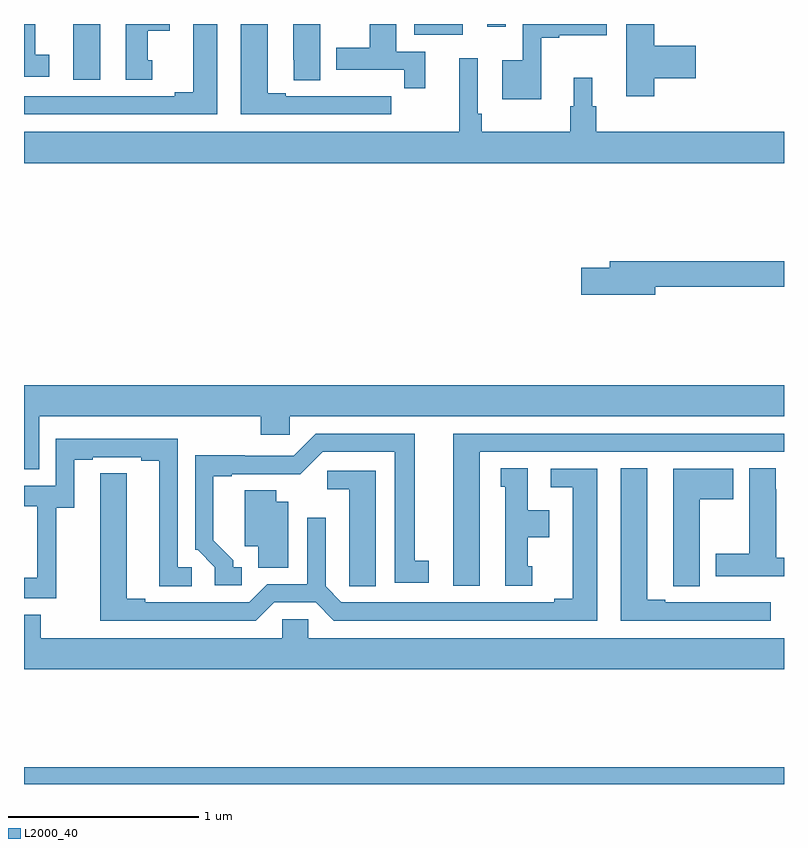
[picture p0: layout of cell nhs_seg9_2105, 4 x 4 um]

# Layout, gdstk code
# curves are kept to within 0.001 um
import gdstk
lib = gdstk.Library(unit=1e-6, precision=1e-09)
def R(c, l, rs):  # rectangles x0, y0, x1, y1
    for r in rs: c.add(gdstk.rectangle(r[:2], r[2:], *l))
def P(c, l, *ps):  # polygons
    for p in ps: c.add(gdstk.Polygon(p, *l))
L2000_40 = (2000, 40)

nhs_seg9_2105 = lib.new_cell('nhs_seg9_2105')
R(nhs_seg9_2105, L2000_40, [(231,1178.5,235,1178.588), (231.26,1182.207,231.4,1182.5), (233.054,1182.443,233.308,1182.5), (233.438,1182.486,233.535,1182.5)])
P(nhs_seg9_2105, L2000_40, [(232.933,1182.12),(232.82,1182.12),(232.82,1182.121),(232.654,1182.121),(232.654,1182.12),(232.378,1182.12),(232.378,1182.135),(232.282,1182.135),(232.282,1182.5),(232.142,1182.5),(232.142,1182.024),(232.933,1182.024)],
  [(233.111,1182.354),(232.96,1182.354),(232.96,1182.5),(232.82,1182.5),(232.82,1182.375),(232.643,1182.375),(232.643,1182.258),(233.002,1182.258),(233.002,1182.162),(233.111,1182.162)],
  [(233.722,1182.428),(233.818,1182.428),(233.818,1182.44),(234.067,1182.44),(234.067,1182.5),(233.625,1182.5),(233.625,1182.31),(233.516,1182.31),(233.516,1182.104),(233.722,1182.104)],
  [(232.558,1182.5),(232.418,1182.5),(232.418,1182.313),(232.419,1182.313),(232.419,1182.205),(232.558,1182.205)],
  [(231.676,1182.309),(231.652,1182.309),(231.652,1182.464),(231.766,1182.464),(231.766,1182.5),(231.536,1182.5),(231.536,1182.207),(231.676,1182.207)],
  [(234.317,1182.215),(234.535,1182.215),(234.535,1182.386),(234.317,1182.386),(234.317,1182.5),(234.17,1182.5),(234.17,1182.12),(234.317,1182.12)],
  [(232.018,1182.5),(231.89,1182.5),(231.89,1182.14),(231.794,1182.14),(231.794,1182.12),(231,1182.12),(231,1182.024),(232.018,1182.024)],
  [(231.133,1182.338),(231.058,1182.338),(231.058,1182.5),(231,1182.5),(231,1182.222),(231.133,1182.222)],
  [(235,1181.932),(234.011,1181.932),(234.011,1182.066),(233.992,1182.066),(233.992,1182.217),(233.894,1182.217),(233.894,1182.066),(233.875,1182.066),(233.875,1181.932),(233.408,1181.932),(233.408,1182.028),(233.388,1182.028),(233.388,1182.319),(233.291,1182.319),(233.291,1181.932),(231,1181.932),(231,1181.768),(235,1181.768)],
  [(234.322,1181.116),(235,1181.116),(235,1181.252),(234.083,1181.252),(234.083,1181.216),(233.934,1181.216),(233.934,1181.074),(234.322,1181.074)],
  [(231.079,1180.436),(232.247,1180.436),(232.247,1180.338),(232.398,1180.338),(232.398,1180.436),(235,1180.436),(235,1180.6),(231,1180.6),(231,1180.156),(231.079,1180.156)],
  [(232.147,1179.642),(232.102,1179.642),(232.102,1179.677),(231.997,1179.782),(231.997,1180.119),(232.093,1180.119),(232.093,1180.131),(232.454,1180.13),(232.572,1180.248),(232.952,1180.248),(232.952,1179.558),(233.131,1179.558),(233.131,1179.674),(233.056,1179.674),(233.056,1180.344),(232.536,1180.344),(232.419,1180.227),(232.163,1180.227),(232.163,1180.229),(231.9,1180.229),(231.9,1179.732),(231.915,1179.732),(232.005,1179.642),(232.005,1179.546),(232.147,1179.546)],
  [(233.398,1180.248),(235,1180.248),(235,1180.344),(233.258,1180.344),(233.258,1179.543),(233.398,1179.543)],
  [(231.171,1179.955),(231.265,1179.955),(231.265,1180.206),(231.361,1180.206),(231.361,1180.221),(231.617,1180.221),(231.617,1180.201),(231.713,1180.201),(231.713,1179.541),(231.883,1179.541),(231.883,1179.642),(231.81,1179.642),(231.81,1180.317),(231.168,1180.317),(231.168,1180.071),(231,1180.071),(231,1179.963),(231.071,1179.963),(231.071,1179.586),(231,1179.586),(231,1179.477),(231.171,1179.477)],
  [(233.674,1179.645),(233.65,1179.645),(233.65,1179.8),(233.764,1179.8),(233.764,1179.94),(233.65,1179.94),(233.65,1180.163),(233.51,1180.163),(233.51,1180.065),(233.534,1180.065),(233.534,1179.543),(233.674,1179.543)],
  [(234.931,1179.456),(234.818,1179.456),(234.818,1179.457),(234.652,1179.457),(234.652,1179.456),(234.376,1179.456),(234.376,1179.471),(234.28,1179.471),(234.28,1180.163),(234.14,1180.163),(234.14,1179.36),(234.931,1179.36)],
  [(235,1179.69),(234.958,1179.69),(234.958,1180.052),(234.957,1180.052),(234.957,1180.163),(234.818,1180.163),(234.818,1179.711),(234.641,1179.711),(234.641,1179.594),(235,1179.594)],
  [(234.556,1180),(234.733,1180),(234.733,1180.159),(234.416,1180.159),(234.416,1179.649),(234.417,1179.649),(234.417,1179.541),(234.556,1179.541)],
  [(232.317,1179.456),(232.535,1179.456),(232.631,1179.36),(234.016,1179.36),(234.016,1180.158),(233.772,1180.158),(233.772,1180.062),(233.888,1180.062),(233.888,1179.476),(233.792,1179.476),(233.792,1179.456),(232.671,1179.456),(232.587,1179.54),(232.587,1179.901),(232.491,1179.901),(232.491,1179.552),(232.281,1179.552),(232.185,1179.456),(231.637,1179.456),(231.637,1179.476),(231.541,1179.476),(231.541,1180.136),(231.402,1180.136),(231.401,1179.36),(232.221,1179.36)],
  [(232.852,1180.149),(232.596,1180.149),(232.596,1180.052),(232.712,1180.052),(232.712,1179.649),(232.713,1179.649),(232.713,1179.541),(232.852,1179.541)],
  [(232.39,1179.985),(232.327,1179.985),(232.327,1180.046),(232.163,1180.046),(232.163,1179.752),(232.232,1179.752),(232.232,1179.637),(232.39,1179.637)],
  [(235,1179.268),(232.497,1179.268),(232.497,1179.366),(232.359,1179.366),(232.359,1179.268),(231.087,1179.268),(231.087,1179.392),(231,1179.392),(231,1179.104),(235,1179.104)])

lib.write_gds('nhs_seg9_2105.gds')
